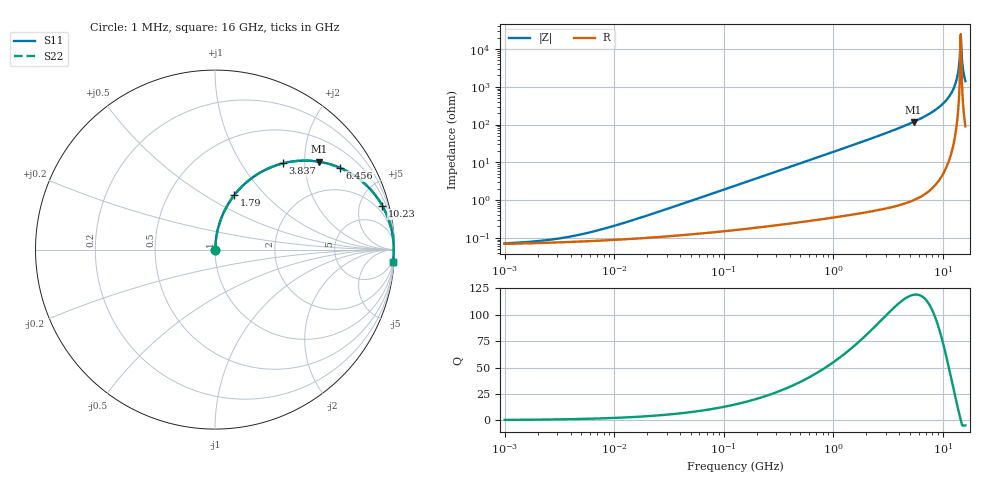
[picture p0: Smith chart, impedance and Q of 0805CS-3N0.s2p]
# MHz S MA R 50
!Freq  MagS11  AngS11  MagS21  AngS21  MagS12  AngS12  MagS22  AngS22
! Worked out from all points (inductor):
!   801 points, 1 MHz to 16 GHz, reference 50 ohm
!   read as one part in series: L = 3 nH near 15.22 MHz
!   highest Q = 119 at 5.385 GHz (marker M1), where L = 3.48 nH
!   self-resonance near 14.52 GHz
!   S11 on the Smith chart (normalised r, x): 1 MHz: 1.00, +0.00; 1.79 GHz: 1.01, +0.69; 3.837 GHz: 1.01, +1.56; 6.456 GHz: 1.03, +3.03; 10.23 GHz: 1.11, +7.64; 16 GHz: 3, -28
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1  0.0007138 15.3  0.9993 -0.0  0.9993 -0.0  0.0007138 15.3
2.389851  0.0008636 31.4  0.9993 -0.0  0.9993 -0.0  0.0008636 31.4
5.060461  0.001244 50.0  0.9992 -0.1  0.9992 -0.1  0.001244 50.0
25.30026  0.004878 77.3  0.9989 -0.3  0.9989 -0.3  0.004878 77.3
128.031  0.02414 84.8  0.9981 -1.4  0.9981 -1.4  0.02414 84.8
640.1033  0.1197 81.8  0.99 -6.9  0.99 -6.9  0.1197 81.8
1790.35  0.3229 70.4  0.9422 -18.8  0.9422 -18.8  0.3229 70.4
3200.258  0.5331 57.2  0.8408 -32.2  0.8408 -32.2  0.5331 57.2
3837.181  0.6111 51.8  0.786 -37.7  0.786 -37.7  0.6111 51.8
5384.638  0.7588 40.2  0.6449 -49.4  0.6449 -49.4  0.7588 40.2
6456.3  0.8316 33.3  0.5484 -56.3  0.5484 -56.3  0.8316 33.3
8324.188  0.916 23.1  0.3921 -66.3  0.3921 -66.3  0.916 23.1
10225.38  0.964 14.6  0.2524 -74.6  0.2524 -74.6  0.964 14.6
11681.16  0.9838 9.1  0.158 -79.6  0.158 -79.6  0.9838 9.1
12713.71  0.9915 5.6  0.097 -82.2  0.097 -82.2  0.9915 5.6
13344.21  0.9942 3.5  0.06196 -82.9  0.06196 -82.9  0.9942 3.5
14005.97  0.9957 1.5  0.02696 -80.0  0.02696 -80.0  0.9957 1.5
14349.07  0.9959 0.5  0.009926 -65.5  0.009926 -65.5  0.9959 0.5
14700.56  0.9958 -0.5  0.009475 63.7  0.009475 63.7  0.9958 -0.5
15060.67  0.9955 -1.5  0.02646 79.4  0.02646 79.4  0.9955 -1.5
15617.43  0.9943 -3.0  0.05267 82.3  0.05267 82.3  0.9943 -3.0
16000  0.9931 -4.0  0.07018 82.4  0.07018 82.4  0.9931 -4.0
